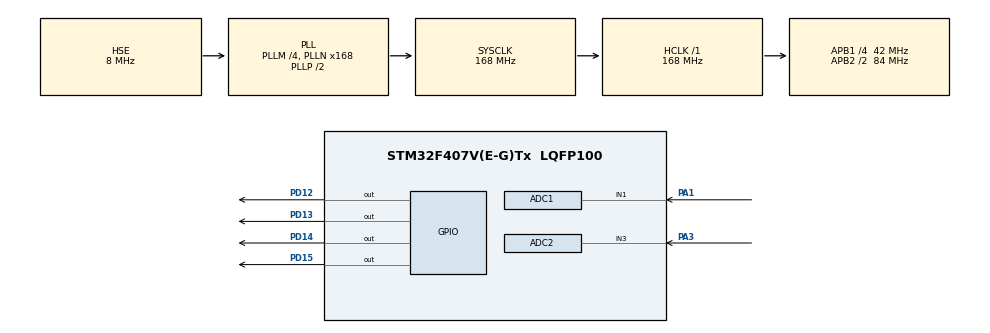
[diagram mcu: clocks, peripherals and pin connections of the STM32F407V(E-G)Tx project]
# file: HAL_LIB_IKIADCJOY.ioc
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ADC1.Channel-0\#ChannelRegularConversion=ADC_CHANNEL_1
ADC1.ContinuousConvMode=ENABLE
ADC1.NbrOfConversionFlag=1
ADC1.Rank-0\#ChannelRegularConversion=1
ADC1.Resolution=ADC_RESOLUTION_6B
ADC1.SamplingTime-0\#ChannelRegularConversion=ADC_SAMPLETIME_3CYCLES
ADC1.master=1
ADC2.Channel-0\#ChannelRegularConversion=ADC_CHANNEL_3
ADC2.NbrOfConversionFlag=1
ADC2.Rank-0\#ChannelRegularConversion=1
ADC2.Resolution=ADC_RESOLUTION_6B
ADC2.SamplingTime-0\#ChannelRegularConversion=ADC_SAMPLETIME_3CYCLES
Mcu.Family=STM32F4
Mcu.Name=STM32F407V(E-G)Tx
Mcu.Package=LQFP100
NVIC.PriorityGroup=NVIC_PRIORITYGROUP_4
PA1.Signal=ADCx_IN1
PA3.Signal=ADCx_IN3
PD12.GPIO_Speed=GPIO_SPEED_FREQ_VERY_HIGH
PD12.Signal=GPIO_Output
PD13.GPIO_Speed=GPIO_SPEED_FREQ_VERY_HIGH
PD13.Signal=GPIO_Output
PD14.GPIO_Speed=GPIO_SPEED_FREQ_VERY_HIGH
PD14.Signal=GPIO_Output
PD15.GPIO_Speed=GPIO_SPEED_FREQ_VERY_HIGH
PD15.Signal=GPIO_Output
PH0-OSC_IN.Mode=HSE-External-Oscillator
PH0-OSC_IN.Signal=RCC_OSC_IN
PH1-OSC_OUT.Mode=HSE-External-Oscillator
PH1-OSC_OUT.Signal=RCC_OSC_OUT
ProjectManager.HeapSize=0x200
ProjectManager.StackSize=0x400
ProjectManager.TargetToolchain=STM32CubeIDE
RCC.48MHZClocksFreq_Value=84000000
RCC.AHBFreq_Value=168000000
RCC.APB1CLKDivider=RCC_HCLK_DIV4
RCC.APB1Freq_Value=42000000
RCC.APB1TimFreq_Value=84000000
RCC.APB2CLKDivider=RCC_HCLK_DIV2
RCC.APB2Freq_Value=84000000
RCC.APB2TimFreq_Value=168000000
RCC.CortexFreq_Value=168000000
RCC.HCLKFreq_Value=168000000
RCC.HSE_VALUE=8000000
RCC.HSI_VALUE=16000000
RCC.LSE_VALUE=32768
RCC.PLLM=4
RCC.PLLN=168
RCC.PLLSourceVirtual=RCC_PLLSOURCE_HSE
RCC.SYSCLKFreq_VALUE=168000000
RCC.SYSCLKSource=RCC_SYSCLKSOURCE_PLLCLK
RCC.VCOOutputFreq_Value=336000000
SH.ADCx_IN1.0=ADC1_IN1,IN1
SH.ADCx_IN3.0=ADC2_IN3,IN3
board=custom

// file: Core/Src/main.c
/* USER CODE BEGIN Header */
/**
  ******************************************************************************
  * @file           : main.c
  * @brief          : Main program body
  ******************************************************************************
  * @attention
  *
  * <h2><center>&copy; Copyright (c) 2021 STMicroelectronics.
  * All rights reserved.</center></h2>
  *
  * This software component is licensed by ST under BSD 3-Clause license,
  * the "License"; You may not use this file except in compliance with the
  * License. You may obtain a copy of the License at:
  *                        opensource.org/licenses/BSD-3-Clause
  *
  ******************************************************************************
  */
/* USER CODE END Header */
#include "main.h"

/* USER CODE BEGIN Includes */
uint16_t X;
uint16_t Y;

/* USER CODE END Includes */

ADC_HandleTypeDef hadc1;
ADC_HandleTypeDef hadc2;

void SystemClock_Config(void);
static void MX_GPIO_Init(void);
static void MX_ADC1_Init(void);
static void MX_ADC2_Init(void);

/* USER CODE BEGIN 0 */

void X_adc(){
	HAL_ADC_Start(&hadc1);
	if(HAL_ADC_PollForConversion(&hadc1, 100000)==HAL_OK){
		X = HAL_ADC_GetValue(&hadc1);
		HAL_ADC_Stop(&hadc1);
	}
}

void Y_adc(){
	HAL_ADC_Start(&hadc2);
	if(HAL_ADC_PollForConversion(&hadc2, 100000)==HAL_OK){
		Y = HAL_ADC_GetValue(&hadc2);
		HAL_ADC_Stop(&hadc2);
	}
}

void X_led(uint32_t adc1){
	uint32_t a;
		a=adc1;
		  if (a==42){
			  HAL_GPIO_WritePin(GPIOD, GPIO_PIN_12, GPIO_PIN_SET);
			  HAL_GPIO_WritePin(GPIOD, GPIO_PIN_14, GPIO_PIN_RESET);
		  }
		  else if(a==0){
			  HAL_GPIO_WritePin(GPIOD, GPIO_PIN_12, GPIO_PIN_RESET);
			  HAL_GPIO_WritePin(GPIOD, GPIO_PIN_14, GPIO_PIN_SET);
		  }
		  else{
			  HAL_GPIO_WritePin(GPIOD, GPIO_PIN_12, GPIO_PIN_RESET);
			  HAL_GPIO_WritePin(GPIOD, GPIO_PIN_14, GPIO_PIN_RESET);
		  }

}

void Y_led(uint32_t adc2){
	uint32_t b;
		b=adc2;
		  if (b==0){
			  HAL_GPIO_WritePin(GPIOD, GPIO_PIN_13, GPIO_PIN_SET);
			  HAL_GPIO_WritePin(GPIOD, GPIO_PIN_15, GPIO_PIN_RESET);
		  }
		  else if(b==42){
			  HAL_GPIO_WritePin(GPIOD, GPIO_PIN_13, GPIO_PIN_RESET);
			  HAL_GPIO_WritePin(GPIOD, GPIO_PIN_15, GPIO_PIN_SET);
		  }
		  else {
			  HAL_GPIO_WritePin(GPIOD, GPIO_PIN_13, GPIO_PIN_RESET);
			  HAL_GPIO_WritePin(GPIOD, GPIO_PIN_15, GPIO_PIN_RESET);
		  }
}

/* USER CODE END 0 */

int main(void)
{

  /* MCU Configuration--------------------------------------------------------*/

  /* Reset of all peripherals, Initializes the Flash interface and the Systick. */
  HAL_Init();

  /* Configure the system clock */
  SystemClock_Config();

  /* Initialize all configured peripherals */
  MX_GPIO_Init();
  MX_ADC1_Init();
  MX_ADC2_Init();

  /* Infinite loop */
  while (1)
  {

    /* USER CODE BEGIN 3 */
	  X_adc();
	  Y_adc();
	  X_led(X);
	  Y_led(Y);
  }
  /* USER CODE END 3 */
}

void SystemClock_Config(void)
{
  RCC_OscInitTypeDef RCC_OscInitStruct = {0};
  RCC_ClkInitTypeDef RCC_ClkInitStruct = {0};

  /** Configure the main internal regulator output voltage
  */
  __HAL_RCC_PWR_CLK_ENABLE();
  __HAL_PWR_VOLTAGESCALING_CONFIG(PWR_REGULATOR_VOLTAGE_SCALE1);
  /** Initializes the RCC Oscillators according to the specified parameters
  * in the RCC_OscInitTypeDef structure.
  */
  RCC_OscInitStruct.OscillatorType = RCC_OSCILLATORTYPE_HSE;
  RCC_OscInitStruct.HSEState = RCC_HSE_ON;
  RCC_OscInitStruct.PLL.PLLState = RCC_PLL_ON;
  RCC_OscInitStruct.PLL.PLLSource = RCC_PLLSOURCE_HSE;
  RCC_OscInitStruct.PLL.PLLM = 4;
  RCC_OscInitStruct.PLL.PLLN = 168;
  RCC_OscInitStruct.PLL.PLLP = RCC_PLLP_DIV2;
  RCC_OscInitStruct.PLL.PLLQ = 4;
  if (HAL_RCC_OscConfig(&RCC_OscInitStruct) != HAL_OK)
  {
    Error_Handler();
  }
  /** Initializes the CPU, AHB and APB buses clocks
  */
  RCC_ClkInitStruct.ClockType = RCC_CLOCKTYPE_HCLK|RCC_CLOCKTYPE_SYSCLK
                              |RCC_CLOCKTYPE_PCLK1|RCC_CLOCKTYPE_PCLK2;
  RCC_ClkInitStruct.SYSCLKSource = RCC_SYSCLKSOURCE_PLLCLK;
  RCC_ClkInitStruct.AHBCLKDivider = RCC_SYSCLK_DIV1;
  RCC_ClkInitStruct.APB1CLKDivider = RCC_HCLK_DIV4;
  RCC_ClkInitStruct.APB2CLKDivider = RCC_HCLK_DIV2;

  if (HAL_RCC_ClockConfig(&RCC_ClkInitStruct, FLASH_LATENCY_5) != HAL_OK)
  {
    Error_Handler();
  }
}

static void MX_ADC1_Init(void)
{

  ADC_ChannelConfTypeDef sConfig = {0};

  /** Configure the global features of the ADC (Clock, Resolution, Data Alignment and number of conversion)
  */
  hadc1.Instance = ADC1;
  hadc1.Init.ClockPrescaler = ADC_CLOCK_SYNC_PCLK_DIV4;
  hadc1.Init.Resolution = ADC_RESOLUTION_6B;
  hadc1.Init.ScanConvMode = DISABLE;
  hadc1.Init.ContinuousConvMode = ENABLE;
  hadc1.Init.DiscontinuousConvMode = DISABLE;
  hadc1.Init.ExternalTrigConvEdge = ADC_EXTERNALTRIGCONVEDGE_NONE;
  hadc1.Init.ExternalTrigConv = ADC_SOFTWARE_START;
  hadc1.Init.DataAlign = ADC_DATAALIGN_RIGHT;
  hadc1.Init.NbrOfConversion = 1;
  hadc1.Init.DMAContinuousRequests = DISABLE;
  hadc1.Init.EOCSelection = ADC_EOC_SINGLE_CONV;
  if (HAL_ADC_Init(&hadc1) != HAL_OK)
  {
    Error_Handler();
  }
  /** Configure for the selected ADC regular channel its corresponding rank in the sequencer and its sample time.
  */
  sConfig.Channel = ADC_CHANNEL_1;
  sConfig.Rank = 1;
  sConfig.SamplingTime = ADC_SAMPLETIME_3CYCLES;
  if (HAL_ADC_ConfigChannel(&hadc1, &sConfig) != HAL_OK)
  {
    Error_Handler();
  }

}

static void MX_ADC2_Init(void)
{

  ADC_ChannelConfTypeDef sConfig = {0};

  /** Configure the global features of the ADC (Clock, Resolution, Data Alignment and number of conversion)
  */
  hadc2.Instance = ADC2;
  hadc2.Init.ClockPrescaler = ADC_CLOCK_SYNC_PCLK_DIV4;
  hadc2.Init.Resolution = ADC_RESOLUTION_6B;
  hadc2.Init.ScanConvMode = DISABLE;
  hadc2.Init.ContinuousConvMode = ENABLE;
  hadc2.Init.DiscontinuousConvMode = DISABLE;
  hadc2.Init.ExternalTrigConvEdge = ADC_EXTERNALTRIGCONVEDGE_NONE;
  hadc2.Init.ExternalTrigConv = ADC_SOFTWARE_START;
  hadc2.Init.DataAlign = ADC_DATAALIGN_RIGHT;
  hadc2.Init.NbrOfConversion = 1;
  hadc2.Init.DMAContinuousRequests = DISABLE;
  hadc2.Init.EOCSelection = ADC_EOC_SINGLE_CONV;
  if (HAL_ADC_Init(&hadc2) != HAL_OK)
  {
    Error_Handler();
  }
  /** Configure for the selected ADC regular channel its corresponding rank in the sequencer and its sample time.
  */
  sConfig.Channel = ADC_CHANNEL_3;
  sConfig.Rank = 1;
  sConfig.SamplingTime = ADC_SAMPLETIME_3CYCLES;
  if (HAL_ADC_ConfigChannel(&hadc2, &sConfig) != HAL_OK)
  {
    Error_Handler();
  }

}

static void MX_GPIO_Init(void)
{
  GPIO_InitTypeDef GPIO_InitStruct = {0};

  /* GPIO Ports Clock Enable */
  __HAL_RCC_GPIOH_CLK_ENABLE();
  __HAL_RCC_GPIOA_CLK_ENABLE();
  __HAL_RCC_GPIOD_CLK_ENABLE();

  /*Configure GPIO pin Output Level */
  HAL_GPIO_WritePin(GPIOD, GPIO_PIN_12|GPIO_PIN_13|GPIO_PIN_14|GPIO_PIN_15, GPIO_PIN_RESET);

  /*Configure GPIO pins : PD12 PD13 PD14 PD15 */
  GPIO_InitStruct.Pin = GPIO_PIN_12|GPIO_PIN_13|GPIO_PIN_14|GPIO_PIN_15;
  GPIO_InitStruct.Mode = GPIO_MODE_OUTPUT_PP;
  GPIO_InitStruct.Pull = GPIO_NOPULL;
  GPIO_InitStruct.Speed = GPIO_SPEED_FREQ_VERY_HIGH;
  HAL_GPIO_Init(GPIOD, &GPIO_InitStruct);

}

void Error_Handler(void)
{
  __disable_irq();
  while (1)
  {
  }
}

/************************ (C) COPYRIGHT STMicroelectronics *****END OF FILE****/
